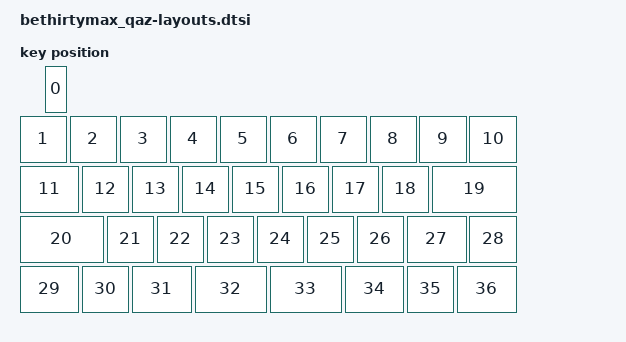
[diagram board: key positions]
#include <physical_layouts.dtsi>

/* Vial の bethirty_qaz のレイアウトに、一番上の小さいキー(EX1)を足したもの。
   行の幅はどれも 10u。順番は default_transform の map と同じ。 */
/ {
    physical_layout0: physical_layout_0 {
        compatible = "zmk,physical-layout";
        display-name = "BeThirtyMax QAZ";
        transform = <&default_transform>;
        kscan = <&kscan0>;
        keys  //                     w   h    x    y     rot    rx    ry
            = <&key_physical_attrs  50 100   50    0       0     0     0>
            , <&key_physical_attrs 100 100    0  100       0     0     0>
            , <&key_physical_attrs 100 100  100  100       0     0     0>
            , <&key_physical_attrs 100 100  200  100       0     0     0>
            , <&key_physical_attrs 100 100  300  100       0     0     0>
            , <&key_physical_attrs 100 100  400  100       0     0     0>
            , <&key_physical_attrs 100 100  500  100       0     0     0>
            , <&key_physical_attrs 100 100  600  100       0     0     0>
            , <&key_physical_attrs 100 100  700  100       0     0     0>
            , <&key_physical_attrs 100 100  800  100       0     0     0>
            , <&key_physical_attrs 100 100  900  100       0     0     0>
            , <&key_physical_attrs 125 100    0  200       0     0     0>
            , <&key_physical_attrs 100 100  125  200       0     0     0>
            , <&key_physical_attrs 100 100  225  200       0     0     0>
            , <&key_physical_attrs 100 100  325  200       0     0     0>
            , <&key_physical_attrs 100 100  425  200       0     0     0>
            , <&key_physical_attrs 100 100  525  200       0     0     0>
            , <&key_physical_attrs 100 100  625  200       0     0     0>
            , <&key_physical_attrs 100 100  725  200       0     0     0>
            , <&key_physical_attrs 175 100  825  200       0     0     0>
            , <&key_physical_attrs 175 100    0  300       0     0     0>
            , <&key_physical_attrs 100 100  175  300       0     0     0>
            , <&key_physical_attrs 100 100  275  300       0     0     0>
            , <&key_physical_attrs 100 100  375  300       0     0     0>
            , <&key_physical_attrs 100 100  475  300       0     0     0>
            , <&key_physical_attrs 100 100  575  300       0     0     0>
            , <&key_physical_attrs 100 100  675  300       0     0     0>
            , <&key_physical_attrs 125 100  775  300       0     0     0>
            , <&key_physical_attrs 100 100  900  300       0     0     0>
            , <&key_physical_attrs 125 100    0  400       0     0     0>
            , <&key_physical_attrs 100 100  125  400       0     0     0>
            , <&key_physical_attrs 125 100  225  400       0     0     0>
            , <&key_physical_attrs 150 100  350  400       0     0     0>
            , <&key_physical_attrs 150 100  500  400       0     0     0>
            , <&key_physical_attrs 125 100  650  400       0     0     0>
            , <&key_physical_attrs 100 100  775  400       0     0     0>
            , <&key_physical_attrs 125 100  875  400       0     0     0>
            ;
    };
};
